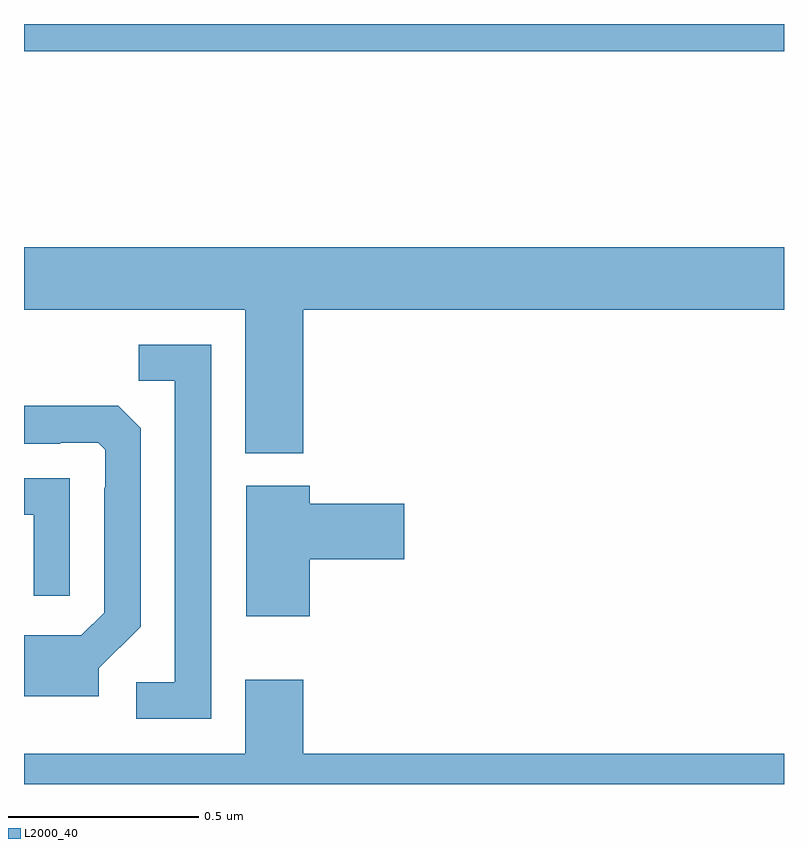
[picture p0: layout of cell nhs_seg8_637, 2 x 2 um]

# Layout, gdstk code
import gdstk
lib = gdstk.Library(unit=1e-6, precision=1e-09)
def R(c, l, rs):  # rectangles x0, y0, x1, y1
    for r in rs: c.add(gdstk.rectangle(r[:2], r[2:], *l))
def P(c, l, *ps):  # polygons
    for p in ps: c.add(gdstk.Polygon(p, *l))
L2000_40 = (2000, 40)

nhs_seg8_637 = lib.new_cell('nhs_seg8_637')
R(nhs_seg8_637, L2000_40, [(119,1135.828,121,1135.9)])
P(nhs_seg8_637, L2000_40, [(119.735,1135.148),(121,1135.148),(121,1135.312),(119,1135.312),(119,1135.148),(119.582,1135.148),(119.582,1134.77),(119.735,1134.77)],
  [(119.493,1135.056),(119.302,1135.056),(119.302,1134.961),(119.397,1134.961),(119.397,1134.168),(119.295,1134.168),(119.295,1134.072),(119.493,1134.072)],
  [(119.197,1134.204),(119.307,1134.314),(119.307,1134.836),(119.248,1134.895),(119.147,1134.895),(119.147,1134.896),(119,1134.896),(119,1134.795),(119.096,1134.795),(119.096,1134.798),(119.196,1134.798),(119.214,1134.78),(119.214,1134.68),(119.211,1134.68),(119.211,1134.351),(119.151,1134.291),(119.028,1134.291),(119.028,1134.292),(119,1134.292),(119,1134.131),(119.197,1134.131)],
  [(119.121,1134.705),(119,1134.705),(119,1134.609),(119.025,1134.609),(119.025,1134.396),(119.121,1134.396)],
  [(119.752,1134.491),(120.001,1134.491),(120.001,1134.638),(119.752,1134.638),(119.752,1134.685),(119.585,1134.685),(119.585,1134.342),(119.752,1134.342)],
  [(121,1133.98),(119.735,1133.98),(119.735,1134.175),(119.582,1134.175),(119.582,1133.98),(119,1133.98),(119,1133.9),(121,1133.9)])

lib.write_gds('nhs_seg8_637.gds')
